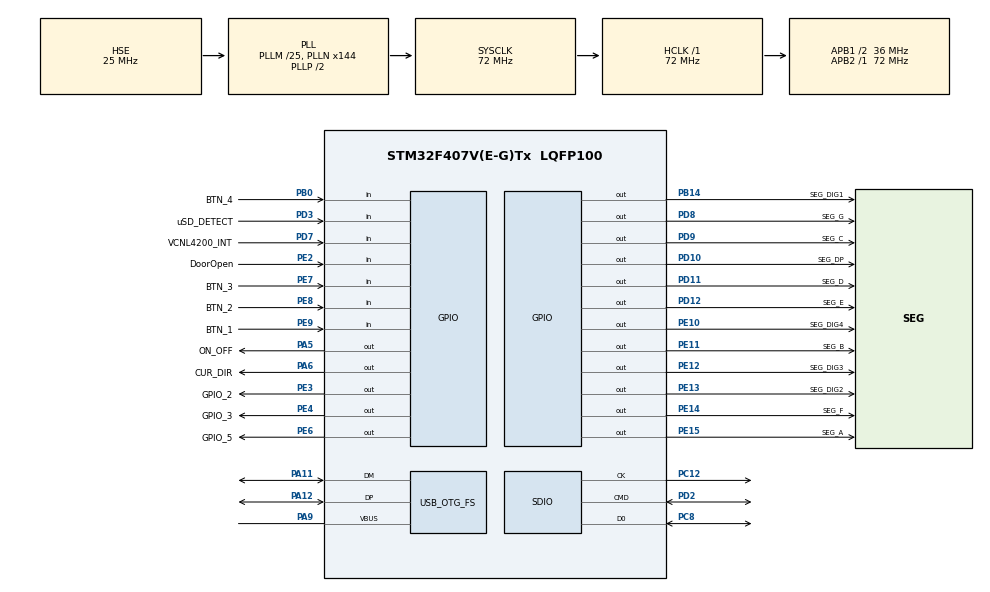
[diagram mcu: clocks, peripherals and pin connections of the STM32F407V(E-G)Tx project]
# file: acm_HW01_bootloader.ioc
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Dma.Request0=SDIO_RX
Dma.Request1=SDIO_TX
Dma.SDIO_RX.0.Direction=DMA_PERIPH_TO_MEMORY
Dma.SDIO_RX.0.FIFOMode=DMA_FIFOMODE_ENABLE
Dma.SDIO_RX.0.FIFOThreshold=DMA_FIFO_THRESHOLD_FULL
Dma.SDIO_RX.0.Instance=DMA2_Stream3
Dma.SDIO_RX.0.MemBurst=DMA_MBURST_INC4
Dma.SDIO_RX.0.MemDataAlignment=DMA_MDATAALIGN_WORD
Dma.SDIO_RX.0.MemInc=DMA_MINC_ENABLE
Dma.SDIO_RX.0.Mode=DMA_PFCTRL
Dma.SDIO_RX.0.PeriphBurst=DMA_PBURST_INC4
Dma.SDIO_RX.0.PeriphDataAlignment=DMA_PDATAALIGN_WORD
Dma.SDIO_RX.0.PeriphInc=DMA_PINC_DISABLE
Dma.SDIO_RX.0.Priority=DMA_PRIORITY_LOW
Dma.SDIO_TX.1.Direction=DMA_MEMORY_TO_PERIPH
Dma.SDIO_TX.1.FIFOMode=DMA_FIFOMODE_ENABLE
Dma.SDIO_TX.1.FIFOThreshold=DMA_FIFO_THRESHOLD_FULL
Dma.SDIO_TX.1.Instance=DMA2_Stream6
Dma.SDIO_TX.1.MemBurst=DMA_MBURST_INC4
Dma.SDIO_TX.1.MemDataAlignment=DMA_MDATAALIGN_WORD
Dma.SDIO_TX.1.MemInc=DMA_MINC_ENABLE
Dma.SDIO_TX.1.Mode=DMA_PFCTRL
Dma.SDIO_TX.1.PeriphBurst=DMA_PBURST_INC4
Dma.SDIO_TX.1.PeriphDataAlignment=DMA_PDATAALIGN_WORD
Dma.SDIO_TX.1.PeriphInc=DMA_PINC_DISABLE
Dma.SDIO_TX.1.Priority=DMA_PRIORITY_LOW
FATFS.BSP.number=1
FATFS.USE_DMA_CODE_SD=1
FATFS._FS_NORTC=0
FATFS._MAX_SS=4096
FATFS._USE_LFN=1
FATFS0.BSP.STBoard=false
FATFS0.BSP.api=Unknown
FATFS0.BSP.i2caddr=0
FATFS0.BSP.instance=PD3
FATFS0.BSP.ip=GPIO
FATFS0.BSP.mode=Input
FATFS0.BSP.name=Detect_SDIO
FATFS0.BSP.solution=PD3
Mcu.Family=STM32F4
Mcu.Name=STM32F407V(E-G)Tx
Mcu.Package=LQFP100
NVIC.DMA2_Stream3_IRQn=true\:0\:0\:false\:false\:true\:false\:true
NVIC.DMA2_Stream6_IRQn=true\:0\:0\:false\:false\:true\:false\:true
NVIC.OTG_FS_IRQn=true\:0\:0\:false\:false\:true\:false\:true
NVIC.PriorityGroup=NVIC_PRIORITYGROUP_4
NVIC.RTC_WKUP_IRQn=true\:0\:0\:false\:false\:true\:true\:true
NVIC.SDIO_IRQn=true\:0\:0\:false\:false\:true\:true\:true
PA11.Mode=Device_Only
PA11.Signal=USB_OTG_FS_DM
PA12.Mode=Device_Only
PA12.Signal=USB_OTG_FS_DP
PA13.Mode=Serial_Wire
PA13.Signal=SYS_JTMS-SWDIO
PA14.Mode=Serial_Wire
PA14.Signal=SYS_JTCK-SWCLK
PA5.GPIO_Label=ON_OFF
PA5.Signal=GPIO_Output
PA6.GPIO_Label=CUR_DIR
PA6.Signal=GPIO_Output
PA9.Mode=Activate_VBUS
PA9.Signal=USB_OTG_FS_VBUS
PB0.GPIO_Label=BTN_4
PB0.GPIO_PuPd=GPIO_PULLUP
PB0.Signal=GPIO_Input
PB14.GPIO_Label=SEG_DIG1
PB14.PinState=GPIO_PIN_SET
PB14.Signal=GPIO_Output
PC12.Mode=SD_1_bit
PC12.Signal=SDIO_CK
PC14-OSC32_IN.Mode=LSE-External-Oscillator
PC14-OSC32_IN.Signal=RCC_OSC32_IN
PC15-OSC32_OUT.Mode=LSE-External-Oscillator
PC15-OSC32_OUT.Signal=RCC_OSC32_OUT
PC8.Mode=SD_1_bit
PC8.Signal=SDIO_D0
PD10.GPIO_Label=SEG_DP
PD10.PinState=GPIO_PIN_SET
PD10.Signal=GPIO_Output
PD11.GPIO_Label=SEG_D
PD11.PinState=GPIO_PIN_SET
PD11.Signal=GPIO_Output
PD12.GPIO_Label=SEG_E
PD12.PinState=GPIO_PIN_SET
PD12.Signal=GPIO_Output
PD2.Mode=SD_1_bit
PD2.Signal=SDIO_CMD
PD3.GPIO_Label=uSD_DETECT
PD3.GPIO_PuPd=GPIO_NOPULL
PD3.Signal=GPIO_Input
PD7.GPIO_Label=VCNL4200_INT
PD7.Signal=GPIO_Input
PD8.GPIO_Label=SEG_G
PD8.PinState=GPIO_PIN_SET
PD8.Signal=GPIO_Output
PD9.GPIO_Label=SEG_C
PD9.PinState=GPIO_PIN_SET
PD9.Signal=GPIO_Output
PE10.GPIO_Label=SEG_DIG4
PE10.PinState=GPIO_PIN_SET
PE10.Signal=GPIO_Output
PE11.GPIO_Label=SEG_B
PE11.PinState=GPIO_PIN_SET
PE11.Signal=GPIO_Output
PE12.GPIO_Label=SEG_DIG3
PE12.PinState=GPIO_PIN_SET
PE12.Signal=GPIO_Output
PE13.GPIO_Label=SEG_DIG2
PE13.PinState=GPIO_PIN_SET
PE13.Signal=GPIO_Output
PE14.GPIO_Label=SEG_F
PE14.PinState=GPIO_PIN_SET
PE14.Signal=GPIO_Output
PE15.GPIO_Label=SEG_A
PE15.PinState=GPIO_PIN_SET
PE15.Signal=GPIO_Output
PE2.GPIO_Label=DoorOpen
PE2.GPIO_PuPd=GPIO_PULLUP
PE2.Signal=GPIO_Input
PE3.GPIO_Label=GPIO_2
PE3.Signal=GPIO_Output
PE4.GPIO_Label=GPIO_3
PE4.Signal=GPIO_Output
PE5.Signal=S_TIM9_CH1
PE6.GPIO_Label=GPIO_5
PE6.Signal=GPIO_Output
PE7.GPIO_Label=BTN_3
PE7.GPIO_PuPd=GPIO_PULLUP
PE7.Signal=GPIO_Input
PE8.GPIO_Label=BTN_2
PE8.GPIO_PuPd=GPIO_PULLUP
PE8.Signal=GPIO_Input
PE9.GPIO_Label=BTN_1
PE9.GPIO_PuPd=GPIO_PULLUP
PE9.Signal=GPIO_Input
PH0-OSC_IN.Mode=HSE-External-Oscillator
PH0-OSC_IN.Signal=RCC_OSC_IN
PH1-OSC_OUT.Mode=HSE-External-Oscillator
PH1-OSC_OUT.Signal=RCC_OSC_OUT
ProjectManager.HeapSize=0x2000
ProjectManager.StackSize=0x4000
ProjectManager.TargetToolchain=STM32CubeIDE
RCC.48MHZClocksFreq_Value=48000000
RCC.AHBFreq_Value=72000000
RCC.APB1CLKDivider=RCC_HCLK_DIV2
RCC.APB1Freq_Value=36000000
RCC.APB1TimFreq_Value=72000000
RCC.APB2Freq_Value=72000000
RCC.APB2TimFreq_Value=72000000
RCC.CortexFreq_Value=72000000
RCC.HCLKFreq_Value=72000000
RCC.HSE_VALUE=25000000
RCC.HSI_VALUE=16000000
RCC.PLLM=25
RCC.PLLN=144
RCC.PLLQ=3
RCC.PLLSourceVirtual=RCC_PLLSOURCE_HSE
RCC.RCC_RTC_Clock_Source=RCC_RTCCLKSOURCE_LSE
RCC.RCC_RTC_Clock_SourceVirtual=RCC_RTCCLKSOURCE_LSE
RCC.SYSCLKFreq_VALUE=72000000
RCC.SYSCLKSource=RCC_SYSCLKSOURCE_PLLCLK
RCC.VCOOutputFreq_Value=144000000
RTC.Date=2
RTC.Format=RTC_FORMAT_BIN
RTC.Month=RTC_MONTH_FEBRUARY
RTC.WakeUpClock=RTC_WAKEUPCLOCK_CK_SPRE_16BITS
RTC.WakeUpCounter=0
RTC.Year=20
SDIO.ClockDiv=3
SH.S_TIM9_CH1.0=TIM9_CH1
USB_DEVICE.CLASS_NAME_FS=CDC
USB_DEVICE.VirtualMode-CDC_FS=Cdc
USB_DEVICE.VirtualModeFS=Cdc_FS
USB_OTG_FS.VirtualMode=Device_Only
VP_CRC_VS_CRC.Mode=CRC_Activate
VP_FATFS_VS_SDIO.Mode=SDIO
VP_RTC_VS_RTC_Activate.Mode=RTC_Enabled
VP_RTC_VS_RTC_Calendar.Mode=RTC_Calendar
VP_RTC_VS_RTC_WakeUp_intern.Mode=WakeUp
VP_USB_DEVICE_VS_USB_DEVICE_CDC_FS.Mode=CDC_FS
board=custom

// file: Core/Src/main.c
/* USER CODE BEGIN Header */
/**
 ******************************************************************************
 * @file           : main.c
 * @brief          : Main program body
 ******************************************************************************
 * @attention
 *
 * <h2><center>&copy; Copyright (c) 2020 STMicroelectronics.
 * All rights reserved.</center></h2>
 *
 * This software component is licensed by ST under Ultimate Liberty license
 * SLA0044, the "License"; You may not use this file except in compliance with
 * the License. You may obtain a copy of the License at:
 *                             www.st.com/SLA0044
 *
 ******************************************************************************
 */
/* USER CODE END Header */

#include "main.h"
#include "crc.h"
#include "dma.h"
#include "fatfs.h"
#include "rtc.h"
#include "sdio.h"
#include "usb_device.h"
#include "gpio.h"

/* USER CODE BEGIN Includes */
#include "usb_device.h"
#include "usbd_cdc_if.h"
#include "bootloader.h"
#include "bootloader_user.h"
/* USER CODE END Includes */

/* USER CODE BEGIN PV */
uint8_t BTNcounter = 0;
uint8_t keystate=0;
/* USER CODE END PV */

void SystemClock_Config(void);

/* USER CODE BEGIN 0 */

#ifdef __GNUC__
/* With GCC/RAISONANCE, small printf (option LD Linker->Libraries->Small printf
 set to 'Yes') calls __io_putchar() */
#define PUTCHAR_PROTOTYPE int __io_putchar(int ch)
#else
#define PUTCHAR_PROTOTYPE int fputc(int ch, FILE *f)
#endif /* __GNUC__ */

/**
 * @brief Retargets the C library printf function to the USB.
 * @param None
 * @retval None
 */
extern  USBD_HandleTypeDef hUsbDeviceFS;

PUTCHAR_PROTOTYPE
{
	/* Place your implementation of fputc here */
	/* e.g. write a character to the USB VCP and Loop until the end of transmission */
	//USBD_CDC_SetTxBuffer(&hUsbDeviceFS, &ch, 1);
	if(hUsbDeviceFS.dev_state==USBD_STATE_CONFIGURED)
		while(!(CDC_Transmit_FS(&ch, 1)==USBD_OK));
	//CDC_Transmit_FS(&ch, 1);
	return ch;
}
void GPIO_DeInit(void)
{
	HAL_GPIO_DeInit(BTN_1_GPIO_Port, BTN_1_Pin);
	HAL_GPIO_DeInit(SEG_DIG1_GPIO_Port, SEG_DIG1_Pin);
	HAL_GPIO_DeInit(SEG_A_GPIO_Port, SEG_A_Pin);
	HAL_GPIO_DeInit(SEG_B_GPIO_Port, SEG_B_Pin);
	HAL_GPIO_DeInit(SEG_C_GPIO_Port, SEG_C_Pin);

	__HAL_RCC_GPIOE_CLK_DISABLE();
	__HAL_RCC_GPIOC_CLK_DISABLE();
	__HAL_RCC_GPIOH_CLK_DISABLE();
	__HAL_RCC_GPIOA_CLK_DISABLE();
	__HAL_RCC_GPIOB_CLK_DISABLE();
	__HAL_RCC_GPIOD_CLK_DISABLE();
}
/* USER CODE END 0 */

int main(void)
{

	/* MCU Configuration--------------------------------------------------------*/

	/* Reset of all peripherals, Initializes the Flash interface and the Systick. */
	HAL_Init();

	/* Configure the system clock */
	SystemClock_Config();

	/* Initialize all configured peripherals */
	MX_GPIO_Init();
	MX_DMA_Init();
	MX_SDIO_SD_Init();
	MX_FATFS_Init();
	MX_USB_DEVICE_Init();
	MX_RTC_Init();
	MX_CRC_Init();
	/* USER CODE BEGIN 2 */
	HAL_GPIO_WritePin(SEG_DIG1_GPIO_Port,SEG_DIG1_Pin,GPIO_PIN_RESET);

	LED_ALL_ON();
	HAL_Delay(5000);
	printf("Power up, Boot started.\n\r");
	HAL_Delay(500);
	LED_ALL_OFF();
	//  //////////////////////test /////////////////
	//  SD_DeInit();
	//  MX_DMA_DeInit();
	//  MX_USB_DEVICE_DeInit();
	//  HAL_RTC_MspDeInit(&hrtc);
	//  HAL_CRC_MspDeInit(&hcrc);
	//  GPIO_DeInit();
	//  uint32_t  JumpAddress = *(__IO uint32_t*)(APP_ADDRESS + 4);
	//  pFunction Jump        = (pFunction)JumpAddress;
	//
	//  HAL_RCC_DeInit();
	//  HAL_DeInit();
	//
	//  SysTick->CTRL = 0;
	//  SysTick->LOAD = 0;
	//  SysTick->VAL  = 0;
	//
	//#if(SET_VECTOR_TABLE)
	//  SCB->VTOR = APP_ADDRESS;
	//#endif
	//
	//  __set_MSP(*(__IO uint32_t*)APP_ADDRESS);
	//  Jump();
	//  while(1);
	//  /* Launch application */
	//  Bootloader_JumpToApplication();
	//  while(1);
	///////////////////////////////////////
	//  if(__HAL_RCC_GET_FLAG(RCC_FLAG_OBLRST))
	//  {
	//      print("OBL flag is active.");
	//#if(CLEAR_RESET_FLAGS)
	//      /* Clear system reset flags */
	//      __HAL_RCC_CLEAR_RESET_FLAGS();
	//      print("Reset flags cleared.");
	//#endif
	//  }

	/* USER CODE END 2 */

	/* Infinite loop */
	/* USER CODE BEGIN WHILE */
	HAL_FLASH_Unlock();

	uint32_t Address=AUTOPROG_ADDRESS;
	if((*(__IO uint16_t*)Address)==0x0001) //autoprogram
	{
		while(__HAL_FLASH_GET_FLAG(FLASH_FLAG_BSY) != 0);
		__HAL_FLASH_CLEAR_FLAG(FLASH_FLAG_EOP |FLASH_FLAG_WRPERR |FLASH_FLAG_OPERR |FLASH_FLAG_PGAERR|FLASH_FLAG_PGPERR|FLASH_FLAG_PGSERR);;
		HAL_FLASH_Program(FLASH_TYPEPROGRAM_HALFWORD, Address, 0x0000);
		HAL_FLASH_Lock();
		HAL_Delay(100);

		printf("Entering Bootloader...\n\r");
		Enter_Bootloader(CONF_FILENAME);
	}
	else
	{
		while(IS_BTN_PRESSED() && BTNcounter < 90)
		{
			if(BTNcounter == 10)
			{
				printf("Release button to enter Bootloader.\n\r");
			}
			if(BTNcounter == 40)
			{
				printf("Release button to enter System Memory.\n\r");
			}

			if(BTNcounter < 10)
			{
				LED_ALL_ON();
			}
			else if(BTNcounter == 10)
			{
				LED_ALL_OFF();
			}
			else if(BTNcounter < 40)
			{
				LED_G_TG();
			}
			else if(BTNcounter == 40)
			{
				LED_G_OFF();
				LED_Y_ON();
			}
			else
			{
				LED_Y_TG();
			}

			BTNcounter++;
			HAL_Delay(100);
		}

		LED_ALL_OFF();
		/* Perform required actions based on button press duration */
		if(BTNcounter < 90)
		{
			if(BTNcounter > 40)
			{
				printf("Entering System Memory...\n\r");
				HAL_Delay(1000);
				Bootloader_JumpToSysMem();
			}
			else if(BTNcounter > 10)
			{
				printf("Entering Bootloader...\n\r");
				Enter_Bootloader(CONF_FILENAME);
			}
		}
	}

	/* Check if there is application in user flash area */
	if(Bootloader_CheckForApplication() == BL_OK)
	{
#if(USE_CHECKSUM)
		/* Verify application checksum */
		if(Bootloader_VerifyChecksum() != BL_OK)
		{
			print("Checksum Error.\n\r");
			Error_Handler();
		}
		else
		{
			print("Checksum OK.\n\r");
		}
#endif

		printf("Launching Application.\n\r");
		LED_G_ON();
		HAL_Delay(1000);
		LED_G_OFF();

		/* De-initialize bootloader hardware & peripherals */
		SD_DeInit();
		GPIO_DeInit();
		//      MX_DMA_DeInit();
		//      MX_USB_DEVICE_DeInit();
		//      HAL_RTC_MspDeInit(&hrtc);
		//      HAL_CRC_MspDeInit(&hcrc);

		/* Launch application */
		Bootloader_JumpToApplication();
	}

	/* No application found */
	printf("No application in flash.\n\r");
	while (1)
	{
		LED_R_ON();
		HAL_Delay(150);
		LED_R_OFF();
		HAL_Delay(150);
		LED_R_ON();
		HAL_Delay(150);
		LED_R_OFF();
		HAL_Delay(1050);
		/* USER CODE END WHILE */

	}
}

void SystemClock_Config(void)
{
	RCC_OscInitTypeDef RCC_OscInitStruct = {0};
	RCC_ClkInitTypeDef RCC_ClkInitStruct = {0};
	RCC_PeriphCLKInitTypeDef PeriphClkInitStruct = {0};

	/** Configure the main internal regulator output voltage
	 */
	__HAL_RCC_PWR_CLK_ENABLE();
	__HAL_PWR_VOLTAGESCALING_CONFIG(PWR_REGULATOR_VOLTAGE_SCALE1);
	/** Initializes the CPU, AHB and APB busses clocks
	 */
	RCC_OscInitStruct.OscillatorType = RCC_OSCILLATORTYPE_HSE|RCC_OSCILLATORTYPE_LSE;
	RCC_OscInitStruct.HSEState = RCC_HSE_ON;
	RCC_OscInitStruct.LSEState = RCC_LSE_ON;
	RCC_OscInitStruct.PLL.PLLState = RCC_PLL_ON;
	RCC_OscInitStruct.PLL.PLLSource = RCC_PLLSOURCE_HSE;
	RCC_OscInitStruct.PLL.PLLM = 25;
	RCC_OscInitStruct.PLL.PLLN = 144;
	RCC_OscInitStruct.PLL.PLLP = RCC_PLLP_DIV2;
	RCC_OscInitStruct.PLL.PLLQ = 3;
	if (HAL_RCC_OscConfig(&RCC_OscInitStruct) != HAL_OK)
	{
		Error_Handler();
	}
	/** Initializes the CPU, AHB and APB busses clocks
	 */
	RCC_ClkInitStruct.ClockType = RCC_CLOCKTYPE_HCLK|RCC_CLOCKTYPE_SYSCLK
			|RCC_CLOCKTYPE_PCLK1|RCC_CLOCKTYPE_PCLK2;
	RCC_ClkInitStruct.SYSCLKSource = RCC_SYSCLKSOURCE_PLLCLK;
	RCC_ClkInitStruct.AHBCLKDivider = RCC_SYSCLK_DIV1;
	RCC_ClkInitStruct.APB1CLKDivider = RCC_HCLK_DIV2;
	RCC_ClkInitStruct.APB2CLKDivider = RCC_HCLK_DIV1;

	if (HAL_RCC_ClockConfig(&RCC_ClkInitStruct, FLASH_LATENCY_2) != HAL_OK)
	{
		Error_Handler();
	}
	PeriphClkInitStruct.PeriphClockSelection = RCC_PERIPHCLK_RTC;
	PeriphClkInitStruct.RTCClockSelection = RCC_RTCCLKSOURCE_LSE;
	if (HAL_RCCEx_PeriphCLKConfig(&PeriphClkInitStruct) != HAL_OK)
	{
		Error_Handler();
	}
}

void Error_Handler(void)
{
}

/************************ (C) COPYRIGHT STMicroelectronics *****END OF FILE****/
